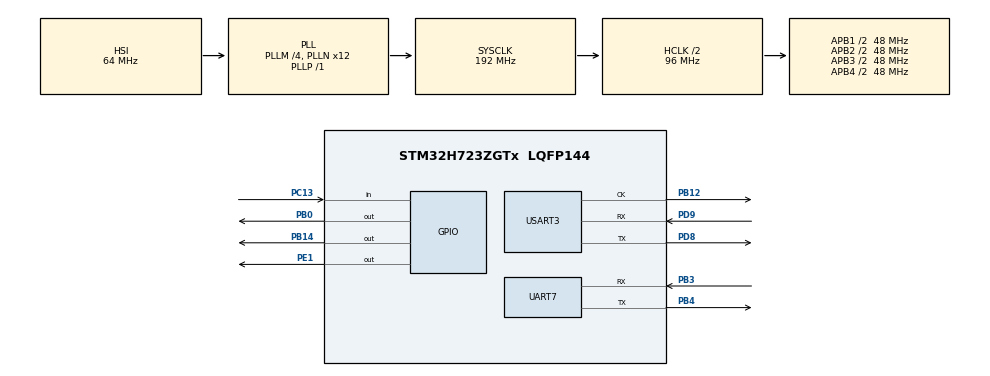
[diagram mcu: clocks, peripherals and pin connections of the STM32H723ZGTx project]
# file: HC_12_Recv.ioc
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CORTEX_M7.CPU_DCache=Enabled
CORTEX_M7.CPU_ICache=Enabled
CORTEX_M7.default_mode_Activation=1
Mcu.Family=STM32H7
Mcu.Name=STM32H723ZGTx
Mcu.Package=LQFP144
NUCLEO-H723ZG.BUTTON=1
NUCLEO-H723ZG.LD1=true
NUCLEO-H723ZG.LD2=true
NUCLEO-H723ZG.LD3=true
NUCLEO-H723ZG.VCP=false
NVIC.EXTI15_10_IRQn=true\:0\:0\:false\:false\:true\:false\:true\:true
NVIC.PriorityGroup=NVIC_PRIORITYGROUP_4
NVIC.UART7_IRQn=true\:0\:0\:false\:false\:true\:true\:true\:true
NVIC.USART3_IRQn=true\:0\:0\:false\:false\:true\:true\:true\:true
PA13(JTMS/SWDIO).GPIO_Label=SWDIO
PA13(JTMS/SWDIO).Signal=DEBUG_JTMS-SWDIO
PA14(JTCK/SWCLK).GPIO_Label=SWCLK
PA14(JTCK/SWCLK).Signal=DEBUG_JTCK-SWCLK
PB0.Signal=GPIO_Output
PB12.Mode=Synchronous
PB12.Signal=USART3_CK
PB14.Signal=GPIO_Output
PB3(JTDO/TRACESWO).Mode=Asynchronous
PB3(JTDO/TRACESWO).Signal=UART7_RX
PB4(NJTRST).Mode=Asynchronous
PB4(NJTRST).Signal=UART7_TX
PC13.Signal=GPIO_Input
PC14-OSC32_IN.Signal=RCC_OSC32_IN
PC15-OSC32_OUT.Signal=RCC_OSC32_OUT
PD8.Mode=Synchronous
PD8.Signal=USART3_TX
PD9.Mode=Synchronous
PD9.Signal=USART3_RX
PE1.Signal=GPIO_Output
ProjectManager.HeapSize=0x200
ProjectManager.StackSize=0x400
ProjectManager.TargetToolchain=STM32CubeIDE
RCC.ADCFreq_Value=608000000
RCC.APB1Freq_Value=48000000
RCC.APB2Freq_Value=48000000
RCC.APB3Freq_Value=48000000
RCC.APB4Freq_Value=48000000
RCC.CortexFreq_Value=192000000
RCC.D1PPRE=RCC_APB3_DIV2
RCC.D2PPRE1=RCC_APB1_DIV2
RCC.D2PPRE2=RCC_APB2_DIV2
RCC.D3PPRE=RCC_APB4_DIV2
RCC.DIVM1=4
RCC.DIVM2=1
RCC.DIVN1=12
RCC.DIVN2=19
RCC.DIVP1=1
RCC.DIVQ1=4
RCC.HCLKFreq_Value=96000000
RCC.HPRE=RCC_HCLK_DIV2
RCC.HSE_VALUE=8000000
RCC.PLLFRACN=0
RCC.SYSCLKFreq_VALUE=192000000
RCC.SYSCLKSource=RCC_SYSCLKSOURCE_PLLCLK
RCC.USBCLockSelection=RCC_USBCLKSOURCE_HSI48
RCC.USBFreq_Value=48000000
USART3.VirtualMode-Synchronous=VM_SYNC
VP_MEMORYMAP_VS_MEMORYMAP.Mode=CurAppReg
VP_NUCLEO-H723ZG_VS_BSP_COMMON.Mode=COMMON
board=NUCLEO-H723ZG

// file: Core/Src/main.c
/* USER CODE BEGIN Header */
/**
  ******************************************************************************
  * @file           : main.c
  * @brief          : Main program body
  ******************************************************************************
  * @attention
  *
  * Copyright (c) 2025 STMicroelectronics.
  * All rights reserved.
  *
  * This software is licensed under terms that can be found in the LICENSE file
  * in the root directory of this software component.
  * If no LICENSE file comes with this software, it is provided AS-IS.
  *
  ******************************************************************************
  */
/* USER CODE END Header */
#include "main.h"

/* USER CODE BEGIN Includes */
#include <stdio.h>
#include <string.h>
/* USER CODE END Includes */

UART_HandleTypeDef huart7;
USART_HandleTypeDef husart3;

/* USER CODE BEGIN PV */
char rxBuffer[20];
uint32_t received_count;
uint8_t rx_buffer[sizeof(received_count)];
/* USER CODE END PV */

void SystemClock_Config(void);
static void MPU_Config(void);
static void MX_GPIO_Init(void);
static void MX_UART7_Init(void);
static void MX_USART3_Init(void);
/* USER CODE BEGIN PFP */
int _write(int file, char *ptr, int len);

int _write(int file, char *ptr, int len)
{
    HAL_UART_Transmit(&husart3, (uint8_t*)ptr, len, HAL_MAX_DELAY); // USART3 사용
    return len;
}

void HAL_UART_RxCpltCallback(UART_HandleTypeDef *huart);

/* USER CODE END PFP */

int main(void)
{

  /* MPU Configuration--------------------------------------------------------*/
  MPU_Config();

  /* Enable the CPU Cache */

  /* Enable I-Cache---------------------------------------------------------*/
  SCB_EnableICache();

  /* Enable D-Cache---------------------------------------------------------*/
  SCB_EnableDCache();

  /* MCU Configuration--------------------------------------------------------*/

  /* Reset of all peripherals, Initializes the Flash interface and the Systick. */
  HAL_Init();

  /* Configure the system clock */
  SystemClock_Config();

  /* Initialize all configured peripherals */
  MX_GPIO_Init();
  MX_UART7_Init();
  MX_USART3_Init();
  /* USER CODE BEGIN 2 */
  printf(" UART7 Initialized!\r\n");

  if (HAL_UART_Init(&husart3) == HAL_OK)
  {
      printf("USART3 Initialized successfully!\r\n");
  }
  else
  {
      printf("USART3 Initialization FAILED!\r\n");
  }

  //HAL_Delay(1000)
  HAL_UART_Receive_IT(&huart7, rx_buffer, sizeof(received_count));
  //HAL_UART_Receive_IT(&huart7, (uint8_t*)rxBuffer, sizeof(rxBuffer) - 1);
  /* USER CODE END 2 */

  /* Initialize leds */
  BSP_LED_Init(LED_GREEN);
  BSP_LED_Init(LED_YELLOW);
  BSP_LED_Init(LED_RED);

  /* Initialize USER push-button, will be used to trigger an interrupt each time it's pressed.*/
  BSP_PB_Init(BUTTON_USER, BUTTON_MODE_EXTI);

  /* Infinite loop */
  while (1)
  {

    /* USER CODE BEGIN 3 */
//	  printf("Waiting for RF...\r\n");
//	  HAL_Delay(500);
  }
  /* USER CODE END 3 */
}

void SystemClock_Config(void)
{
  RCC_OscInitTypeDef RCC_OscInitStruct = {0};
  RCC_ClkInitTypeDef RCC_ClkInitStruct = {0};

  /** Supply configuration update enable
  */
  HAL_PWREx_ConfigSupply(PWR_LDO_SUPPLY);

  /** Configure the main internal regulator output voltage
  */
  __HAL_PWR_VOLTAGESCALING_CONFIG(PWR_REGULATOR_VOLTAGE_SCALE2);

  while(!__HAL_PWR_GET_FLAG(PWR_FLAG_VOSRDY)) {}

  /** Initializes the RCC Oscillators according to the specified parameters
  * in the RCC_OscInitTypeDef structure.
  */
  RCC_OscInitStruct.OscillatorType = RCC_OSCILLATORTYPE_HSI;
  RCC_OscInitStruct.HSIState = RCC_HSI_DIV1;
  RCC_OscInitStruct.HSICalibrationValue = 64;
  RCC_OscInitStruct.PLL.PLLState = RCC_PLL_ON;
  RCC_OscInitStruct.PLL.PLLSource = RCC_PLLSOURCE_HSI;
  RCC_OscInitStruct.PLL.PLLM = 4;
  RCC_OscInitStruct.PLL.PLLN = 12;
  RCC_OscInitStruct.PLL.PLLP = 1;
  RCC_OscInitStruct.PLL.PLLQ = 4;
  RCC_OscInitStruct.PLL.PLLR = 2;
  RCC_OscInitStruct.PLL.PLLRGE = RCC_PLL1VCIRANGE_3;
  RCC_OscInitStruct.PLL.PLLVCOSEL = RCC_PLL1VCOWIDE;
  RCC_OscInitStruct.PLL.PLLFRACN = 0;
  if (HAL_RCC_OscConfig(&RCC_OscInitStruct) != HAL_OK)
  {
    Error_Handler();
  }

  /** Initializes the CPU, AHB and APB buses clocks
  */
  RCC_ClkInitStruct.ClockType = RCC_CLOCKTYPE_HCLK|RCC_CLOCKTYPE_SYSCLK
                              |RCC_CLOCKTYPE_PCLK1|RCC_CLOCKTYPE_PCLK2
                              |RCC_CLOCKTYPE_D3PCLK1|RCC_CLOCKTYPE_D1PCLK1;
  RCC_ClkInitStruct.SYSCLKSource = RCC_SYSCLKSOURCE_PLLCLK;
  RCC_ClkInitStruct.SYSCLKDivider = RCC_SYSCLK_DIV1;
  RCC_ClkInitStruct.AHBCLKDivider = RCC_HCLK_DIV2;
  RCC_ClkInitStruct.APB3CLKDivider = RCC_APB3_DIV2;
  RCC_ClkInitStruct.APB1CLKDivider = RCC_APB1_DIV2;
  RCC_ClkInitStruct.APB2CLKDivider = RCC_APB2_DIV2;
  RCC_ClkInitStruct.APB4CLKDivider = RCC_APB4_DIV2;

  if (HAL_RCC_ClockConfig(&RCC_ClkInitStruct, FLASH_LATENCY_1) != HAL_OK)
  {
    Error_Handler();
  }
}

static void MX_UART7_Init(void)
{

  huart7.Instance = UART7;
  huart7.Init.BaudRate = 115200;
  huart7.Init.WordLength = UART_WORDLENGTH_8B;
  huart7.Init.StopBits = UART_STOPBITS_1;
  huart7.Init.Parity = UART_PARITY_NONE;
  huart7.Init.Mode = UART_MODE_TX_RX;
  huart7.Init.HwFlowCtl = UART_HWCONTROL_NONE;
  huart7.Init.OverSampling = UART_OVERSAMPLING_16;
  huart7.Init.OneBitSampling = UART_ONE_BIT_SAMPLE_DISABLE;
  huart7.Init.ClockPrescaler = UART_PRESCALER_DIV1;
  huart7.AdvancedInit.AdvFeatureInit = UART_ADVFEATURE_NO_INIT;
  if (HAL_UART_Init(&huart7) != HAL_OK)
  {
    Error_Handler();
  }
  if (HAL_UARTEx_SetTxFifoThreshold(&huart7, UART_TXFIFO_THRESHOLD_1_8) != HAL_OK)
  {
    Error_Handler();
  }
  if (HAL_UARTEx_SetRxFifoThreshold(&huart7, UART_RXFIFO_THRESHOLD_1_8) != HAL_OK)
  {
    Error_Handler();
  }
  if (HAL_UARTEx_DisableFifoMode(&huart7) != HAL_OK)
  {
    Error_Handler();
  }

}

static void MX_USART3_Init(void)
{

  husart3.Instance = USART3;
  husart3.Init.BaudRate = 115200;
  husart3.Init.WordLength = USART_WORDLENGTH_8B;
  husart3.Init.StopBits = USART_STOPBITS_1;
  husart3.Init.Parity = USART_PARITY_NONE;
  husart3.Init.Mode = USART_MODE_TX_RX;
  husart3.Init.CLKPolarity = USART_POLARITY_LOW;
  husart3.Init.CLKPhase = USART_PHASE_1EDGE;
  husart3.Init.CLKLastBit = USART_LASTBIT_DISABLE;
  husart3.Init.ClockPrescaler = USART_PRESCALER_DIV1;
  husart3.SlaveMode = USART_SLAVEMODE_DISABLE;
  if (HAL_USART_Init(&husart3) != HAL_OK)
  {
    Error_Handler();
  }
  if (HAL_USARTEx_SetTxFifoThreshold(&husart3, USART_TXFIFO_THRESHOLD_1_8) != HAL_OK)
  {
    Error_Handler();
  }
  if (HAL_USARTEx_SetRxFifoThreshold(&husart3, USART_RXFIFO_THRESHOLD_1_8) != HAL_OK)
  {
    Error_Handler();
  }
  if (HAL_USARTEx_DisableFifoMode(&husart3) != HAL_OK)
  {
    Error_Handler();
  }

}

static void MX_GPIO_Init(void)
{

  /* GPIO Ports Clock Enable */
  __HAL_RCC_GPIOC_CLK_ENABLE();
  __HAL_RCC_GPIOB_CLK_ENABLE();
  __HAL_RCC_GPIOD_CLK_ENABLE();
  __HAL_RCC_GPIOA_CLK_ENABLE();

}

/* USER CODE BEGIN 4 */
void HAL_UART_RxCpltCallback(UART_HandleTypeDef *huart)
{
	if (huart->Instance == UART7)
	{
		memcpy(&received_count, rx_buffer, sizeof(received_count));

		char msg[32];
		sprintf(msg, "Received: %lu\r\n", received_count);
		HAL_UART_Transmit(&husart3, (uint8_t*)msg, strlen(msg), HAL_MAX_DELAY);

		HAL_UART_Receive_IT(&huart7, rx_buffer, sizeof(received_count));
	}

//    if (huart->Instance == UART7)  // UART7에서 인터럽트 발생한 경우
//    {
//        printf("RF Received: %s\r\n", rxBuffer);
//        HAL_UART_Receive_IT(&huart7, (uint8_t*)rxBuffer, sizeof(rxBuffer) - 1);
//    }
}

/* USER CODE END 4 */

 /* MPU Configuration */

void MPU_Config(void)
{
  MPU_Region_InitTypeDef MPU_InitStruct = {0};

  /* Disables the MPU */
  HAL_MPU_Disable();

  /** Initializes and configures the Region and the memory to be protected
  */
  MPU_InitStruct.Enable = MPU_REGION_ENABLE;
  MPU_InitStruct.Number = MPU_REGION_NUMBER0;
  MPU_InitStruct.BaseAddress = 0x0;
  MPU_InitStruct.Size = MPU_REGION_SIZE_4GB;
  MPU_InitStruct.SubRegionDisable = 0x87;
  MPU_InitStruct.TypeExtField = MPU_TEX_LEVEL0;
  MPU_InitStruct.AccessPermission = MPU_REGION_NO_ACCESS;
  MPU_InitStruct.DisableExec = MPU_INSTRUCTION_ACCESS_DISABLE;
  MPU_InitStruct.IsShareable = MPU_ACCESS_SHAREABLE;
  MPU_InitStruct.IsCacheable = MPU_ACCESS_NOT_CACHEABLE;
  MPU_InitStruct.IsBufferable = MPU_ACCESS_NOT_BUFFERABLE;

  HAL_MPU_ConfigRegion(&MPU_InitStruct);
  /* Enables the MPU */
  HAL_MPU_Enable(MPU_PRIVILEGED_DEFAULT);

}

void Error_Handler(void)
{
  __disable_irq();
  while (1)
  {
  }
}
